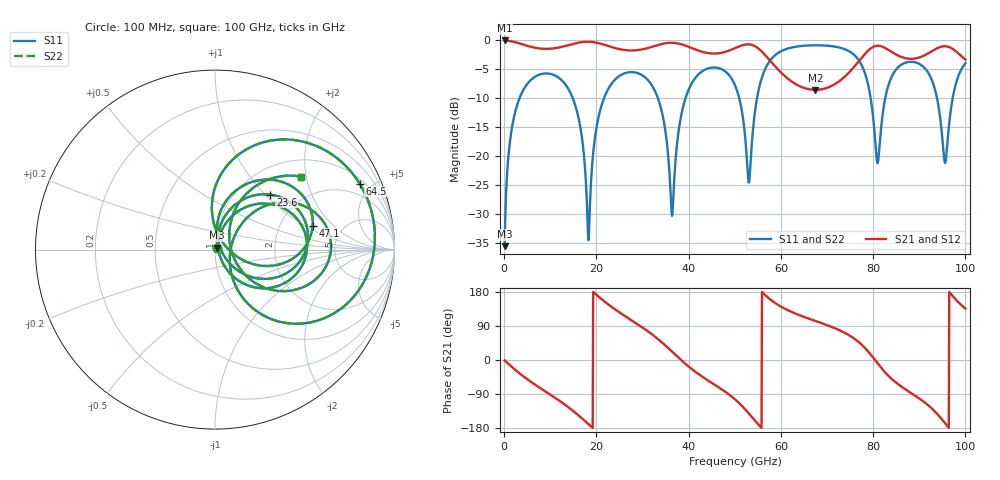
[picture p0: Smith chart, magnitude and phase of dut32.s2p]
! Touchstone file exported from HFSS 2026.1.0
!  File:  C:/ffzhzh/LocalFiles/Ansys_Project_Files/temp_train_TSV_RDL_32_1783617273_26216.aedt
!  Generated:  01:22:03 AM Jul 10, 2026
!  Design:  TSV_RDL
!  Project:  temp_train_TSV_RDL_32_1783617273_26216
! Variables:
!  h_bsmrdl = 4.76um
!  h_ox = 20um
!  h_rdl = 5um
!  h_sub = 77.93um
!  h_tmrdl = 4.19um
!  h_tsv = 77.93um
!  h_via = 3um
!  l_bsmrdl = 316.32um
!  l_sub = 2987.73um
!  l_tmrdl = 379.46um
!  m_sub = 200um
!  pitch = 53.72um
!  r_tsv = 12.51um
!  s_tmrdl = 10um
!  w_bsmrdl = 24.92um
!  w_sub = 500um
!  w_tmrdl = 15.39um
!  x_tsv_center1 = 387.155um
!  x_tsv_center2 = 728.395um
!  x_tsv_center3 = 1123.245um
!  x_tsv_center4 = 1464.485um
!  x_tsv_center5 = 1859.335um
!  x_tsv_center6 = 2200.575um
# GHz S MA R 50.000000
! Terminal data exported
! Port[1] = TM_RDL1_1_T1
! Port[2] = TM_RDL5_1_T1
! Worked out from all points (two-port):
!   1000 points, 100 MHz to 100 GHz, reference 50 ohm
!   highest |S21| = -0.11 dB at 100 MHz (marker M1); lowest = -8.6 dB at 67.5 GHz (marker M2)
!   |S21| within 3 dB of the highest: start of sweep to 57.13 GHz; 89.71 GHz to 99.56 GHz (9.857 GHz wide, 10.4 % of centre) (the widest 2 of 3)
!   lowest |S11| = -35.5 dB at 100 MHz (marker M3), VSWR 1.03, Z = 51.2 + j1.14 ohm
!   |S11| at or under -10 dB: 14.85 GHz to 21.67 GHz (6.824 GHz wide, 37.4 % of centre); 33.31 GHz to 39.34 GHz (6.03 GHz wide, 16.6 % of centre); 50.95 GHz to 54.83 GHz (3.883 GHz wide, 7.34 % of centre) (the widest 3 of 6)
!   |S22| runs from -35.5 to -0.9 dB; largest |S21 - S12| = 1.3e-12
!   S11 on the Smith chart (normalised r, x): 100 MHz: 1.02, +0.02; 23.6 GHz: 1.42, +1.07; 47.1 GHz: 3.04, +1.18; 64.5 GHz: 1.25, +4.25; 100 GHz: 1.39, +1.86
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0.1  0.01672 41.8  0.9877 -1.1  0.9877 -1.1  0.01672 41.8
! Gamma 0 0 0 0
! Port Impedance 50 0 50 0
1.8  0.1854 65.3  0.9663 -19.6  0.9663 -19.6  0.1854 65.3
5.3  0.4308 34.1  0.8816 -53.3  0.8816 -53.3  0.4308 34.1
16.8  0.1504 -58.0  0.9551 -153.2  0.9551 -153.2  0.1504 -58.2
18.3  0.01881 14.8  0.9627 -169.5  0.9627 -169.5  0.01812 14.8
23.6  0.4346 44.8  0.8594 137.4  0.8594 137.4  0.4345 44.9
33.4  0.3092 -31.8  0.903 54.8  0.903 54.8  0.3091 -31.8
36.4  0.03055 19.1  0.944 22.0  0.944 22.0  0.03029 19.3
39.8  0.3558 69.8  0.8768 -15.2  0.8768 -15.2  0.3558 69.8
47.1  0.56 13.8  0.7729 -76.7  0.7729 -76.7  0.5601 13.8
50.1  0.4024 -10.0  0.8497 -104.3  0.8497 -104.3  0.4025 -10.0
53.1  0.05906 43.5  0.9142 -141.9  0.9142 -141.9  0.05883 43.5
56.5  0.5498 75.7  0.7457 172.4  0.7457 172.4  0.5497 75.7
64.5  0.8856 24.5  0.3922 116.1  0.3922 116.1  0.8855 24.6
66.7  0.8968 15.5  0.3725 106.3  0.3725 106.3  0.8968 15.5
67.5  0.8978 12.4  0.371 102.9  0.371 102.9  0.8978 12.4
77.5  0.6061 -43.0  0.7006 40.6  0.7006 40.6  0.6061 -43.0
80.9  0.08702 -14.1  0.888 -7.9  0.888 -7.9  0.08641 -14.2
83.4  0.416 38.3  0.8151 -42.8  0.8151 -42.8  0.4158 38.4
91.4  0.5577 -20.3  0.7447 -114.0  0.7447 -114.0  0.5576 -20.2
95.6  0.08701 11.7  0.8809 -166.8  0.8809 -166.8  0.08797 11.8
100  0.6287 40.3  0.6753 135.8  0.6753 135.8  0.6288 40.3
